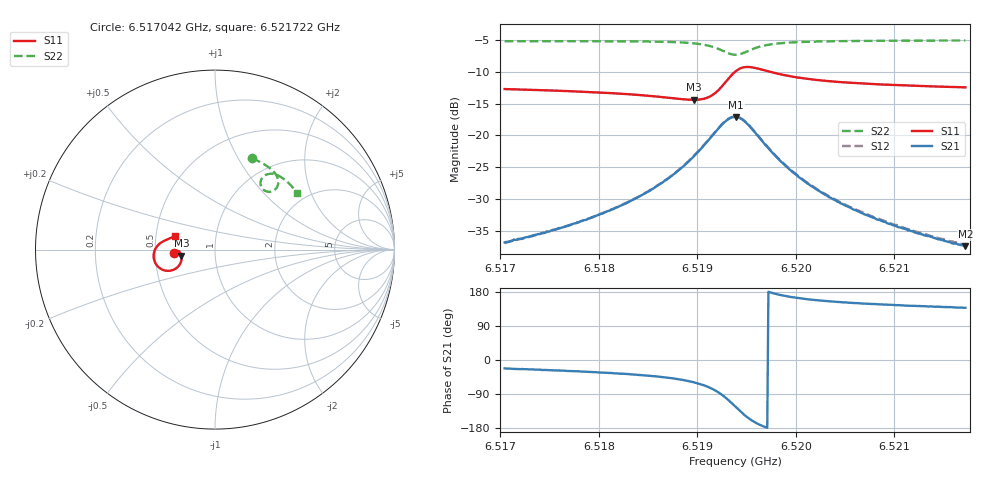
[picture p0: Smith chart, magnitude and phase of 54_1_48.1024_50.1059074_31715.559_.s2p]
#  HZ  S  RI  R  50.00
! Rohde & Schwarz Vector Network Analyzer
! Rohde-Schwarz,ZNB20-2Port,1311601062101988,3.16
! Created: UTC 12/23/2023, 3:40:05 AM
! freq[Hz]  re:S11  im:S11  re:S21  im:S21  re:S12  im:S12  re:S22  im:S22
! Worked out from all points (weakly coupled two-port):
!   401 points, 6.517042 GHz to 6.521722 GHz, reference 50 ohm
!   highest |S21| = -17.11 dB at 6.519393 GHz (marker M1); lowest = -37.4 dB at 6.521722 GHz (marker M2)
!   lowest |S11| = -14.4 dB at 6.518961 GHz (marker M3), VSWR 1.47, Z = 34.2 - j2.46 ohm
!   |S11| at or under -10 dB: start of sweep to 6.519383 GHz; 6.519733 GHz to end of sweep
!   |S22| runs from -7.3 to -5.1 dB; largest |S21 - S12| = 0.0042
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6.5170418e9  -0.2303 -0.0165  0.0133 -0.00543  0.0133 -0.00492  0.2067 0.5081
6.517463e9  -0.2255 -0.0104  0.0156 -0.00776  0.0158 -0.00732  0.2377 0.4947
6.5178257e9  -0.2202 -0.00625  0.0183 -0.0108  0.0187 -0.0101  0.2646 0.4809
6.5182703e9  -0.211 -0.00449  0.0234 -0.0173  0.024 -0.0168  0.2981 0.4594
6.5186096e9  -0.2006 -0.00934  0.0295 -0.0285  0.0305 -0.0277  0.3246 0.4367
6.5187968e9  -0.1932 -0.0182  0.0334 -0.0403  0.0348 -0.0393  0.339 0.4184
6.5189605e9  -0.187 -0.0347  0.0354 -0.0581  0.0374 -0.0575  0.3498 0.3957
6.5190658e9  -0.1863 -0.0535  0.0328 -0.0765  0.0354 -0.0761  0.3528 0.375
6.5191594e9  -0.1939 -0.078  0.0222 -0.0987  0.0255 -0.0988  0.3475 0.3517
6.5192881e9  -0.2372 -0.1145  -0.0219 -0.1277  -0.0184 -0.1292  0.3137 0.3232
6.5193817e9  -0.2955 -0.1106  -0.0741 -0.118  -0.0712 -0.1211  0.2733 0.331
6.5193934e9  -0.3024 -0.1068  -0.0801 -0.1141  -0.0774 -0.1172  0.2689 0.3345
6.5194519e9  -0.3299 -0.0796  -0.1013 -0.0872  -0.0997 -0.0907  0.2552 0.3573
6.5195104e9  -0.3412 -0.047  -0.1077 -0.0578  -0.107 -0.0614  0.2546 0.3813
6.519604e9  -0.336 -0.00474  -0.0986 -0.0223  -0.0988 -0.0253  0.2706 0.4078
6.5196976e9  -0.3208 0.0205  -0.0829 -0.00306  -0.0835 -0.00554  0.2912 0.4197
6.5199316e9  -0.2885 0.046  -0.0529 0.0122  -0.0539 0.0107  0.3318 0.4203
6.5201656e9  -0.2692 0.0548  -0.037 0.0142  -0.0377 0.0133  0.3591 0.4092
6.5204815e9  -0.2538 0.061  -0.0253 0.0134  -0.0262 0.0127  0.386 0.3913
6.5209495e9  -0.2399 0.0679  -0.0167 0.0113  -0.0172 0.0111  0.4169 0.3637
6.5213005e9  -0.2325 0.0726  -0.0129 0.0102  -0.0134 0.01  0.4366 0.3425
6.5217217e9  -0.2249 0.0784  -0.00999 0.00905  -0.0105 0.00905  0.4574 0.3164
